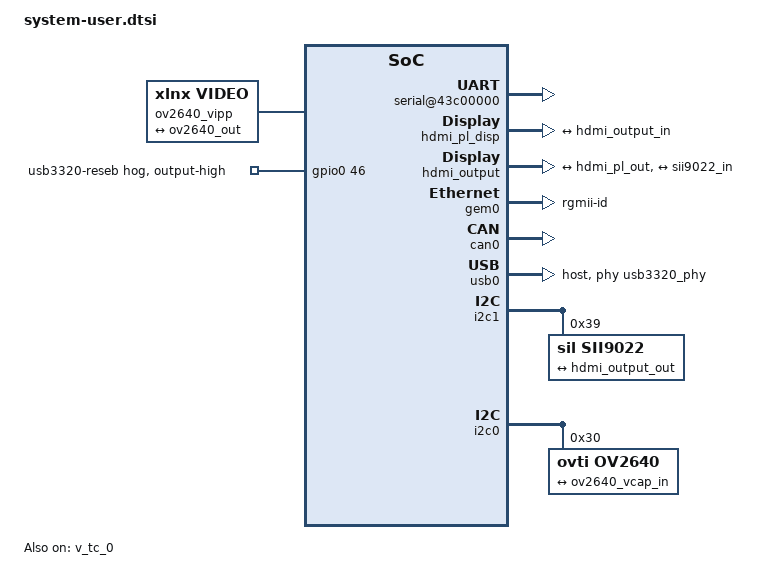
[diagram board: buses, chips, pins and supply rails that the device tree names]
/include/ "system-conf.dtsi"

/* GEM0 uses the PS MIO RGMII and MDIO pins configured in the XSA.
 * The Linux 5.4 macb driver scans MDIO when no phy-handle is specified,
 * allowing the RTL8211F strap-selected PHY address to be discovered.
 */
&gem0 {
	status = "okay";
	/* RTL8211F RX clock delay must be enabled by its RXDLY strap. */
	phy-mode = "rgmii-id";
};

&can0 {
	status = "okay";
};

/* USB3320 RESEB is active low and connected to PS MIO46. */
&gpio0 {
	usb3320-reset-hog {
		gpio-hog;
		gpios = <46 0>;
		output-high;
		line-name = "usb3320-reseb";
	};
};

&usb0 {
	status = "okay";
	dr_mode = "host";
	usb-phy = <&usb3320_phy>;
};

/ {
	usb3320_phy: phy@e0002000 {
		compatible = "ulpi-phy";
		#phy-cells = <0>;
		reg = <0xe0002000 0x1000>;
		view-port = <0x0170>;
		drv-vbus;
	};

	aliases {
		ethernet0 = &gem0;
	};

	/* Reserve the top 128 MiB of the 512 MiB DDR for shared memory. */
	reserved-memory {
		#address-cells = <1>;
		#size-cells = <1>;
		ranges;

		shared_memory: shared-memory@18000000 {
			reg = <0x18000000 0x08000000>;
			no-map;
		};
	};

	/* The PL clock wizard continuously drives the OV2640 XVCLK at 24 MHz. */
	ov2640_xclk: ov2640-xclk {
		compatible = "fixed-clock";
		#clock-cells = <0>;
		clock-frequency = <24000000>;
		clock-output-names = "ov2640_xvclk";
	};

	/* This merges with the generated amba_pl node when pl.dtsi is present. */
	amba_pl {
		#address-cells = <1>;
		#size-cells = <1>;
		compatible = "simple-bus";
		ranges;

		serial@43c00000 {
			compatible = "xlnx,xps-uart16550-2.00.a", "ns16550a";
			reg = <0x43c00000 0x10000>;
			reg-offset = <0x1000>;
			reg-shift = <2>;
			/* Let 8250_of keep PS FCLK0 enabled and read its actual rate. */
			/delete-property/ clock-frequency;
			clocks = <&clkc 15>;
			clock-names = "ref_clk";
			interrupt-parent = <&intc>;
			interrupts = <0 29 4>;
			status = "okay";
		};

		/* S2MM channel 1 captures the DVP stream into DDR for V4L2. */
		ov2640_vipp: ov2640-vipp {
			compatible = "xlnx,video";
			dmas = <&axi_vdma_0 1>;
			dma-names = "port0";

			/* The fixed-function PL unpack/AXI-stream blocks are not
			 * separately programmable V4L2 subdevices. */
			ports {
				#address-cells = <1>;
				#size-cells = <0>;

				port@0 {
					reg = <0>;
					direction = "input";
					ov2640_vcap_in: endpoint {
						remote-endpoint = <&ov2640_out>;
					};
				};
			};
		};
	};
};

/* PL display pipeline: VDMA -> PL display/CRTC -> SII9022 HDMI bridge. */
&axi_dynclk_0 {
	compatible = "digilent,axi-dynclk";
	#clock-cells = <0>;
	clocks = <&clkc 15>;
	clock-output-names = "hdmi_pixel_clk";
	status = "okay";
};

&v_tc_0 {
	/* The PL DRM bridge driver supports the VTC 6.1 programming model. */
	compatible = "xlnx,bridge-v-tc-6.1", "xlnx,v-tc-6.2";
	xlnx,pixels-per-clock = <1>;
	clocks = <&clkc 15>, <&axi_dynclk_0>;
	clock-names = "s_axi_aclk", "clk";
	status = "okay";
};

&i2c1 {
	status = "okay";

	sii9022: hdmi-bridge@39 {
		compatible = "sil,sii9022";
		reg = <0x39>;

		ports {
			#address-cells = <1>;
			#size-cells = <0>;

			port@0 {
				reg = <0>;
				sii9022_in: endpoint {
					remote-endpoint = <&hdmi_output_out>;
				};
			};
		};
	};
};

/* PS I2C0 is exported from PL as OV2640_SCCB on N17/P18. */
&i2c0 {
	status = "okay";

	ov2640: camera@30 {
		compatible = "ovti,ov2640";
		reg = <0x30>;
		clocks = <&ov2640_xclk>;
		clock-names = "xvclk";

		port {
			ov2640_out: endpoint {
				remote-endpoint = <&ov2640_vcap_in>;
				bus-type = <5>; /* Parallel DVP */
				bus-width = <8>;
				pclk-sample = <1>;
				hsync-active = <1>;
				vsync-active = <1>;
			};
		};
	};
};

/ {
	amba_pl {
		hdmi_pl_disp: hdmi-pl-disp {
			compatible = "xlnx,pl-disp";
			dmas = <&axi_vdma_0 0>;
			dma-names = "dma0";
			/* AXI VDMA reads RGB565 frames; PL converts to RGB888 for HDMI. */
			xlnx,vformat = "RG16";
			xlnx,bridge = <&v_tc_0>;

			ports {
				#address-cells = <1>;
				#size-cells = <0>;

				port@0 {
					reg = <0>;
					hdmi_pl_out: endpoint {
						remote-endpoint = <&hdmi_output_in>;
					};
				};
			};
		};

		/* Connector component joins Xilinx DRM to the standard SII9022 bridge. */
		hdmi_output: hdmi-output {
			compatible = "xlnx,drm-hdmi-output";

			ports {
				#address-cells = <1>;
				#size-cells = <0>;

				port@0 {
					reg = <0>;
					hdmi_output_in: endpoint {
						remote-endpoint = <&hdmi_pl_out>;
					};
				};
				port@1 {
					reg = <1>;
					hdmi_output_out: endpoint {
						remote-endpoint = <&sii9022_in>;
					};
				};
			};
		};
	};
};
